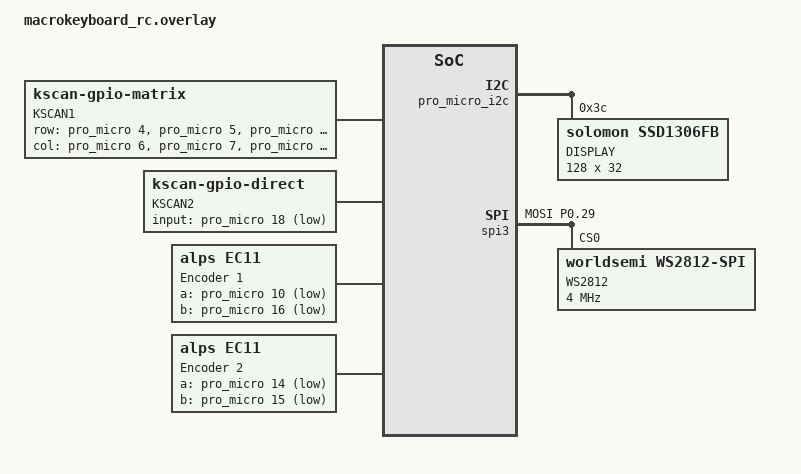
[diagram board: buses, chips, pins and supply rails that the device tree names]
/*
 * Copyright (c) 2021 The ZMK Contributors
 *
 * SPDX-License-Identifier: MIT
 */

#include <dt-bindings/zmk/matrix_transform.h>
#include <dt-bindings/led/led.h>

/ {
    chosen {
        zephyr,display = &oled;
        zmk,kscan = &kscan0;
        zmk,underglow = &led_strip;
    };

    kscan0: kscan_composite {
        compatible = "zmk,kscan-composite";
        label = "KSCAN0";
        rows = <4>;
        columns = <4>;

        // Include the matrix driver
        matrix {
            kscan = <&kscan1>;
        };

        // Include the direct GPIO driver...
        direct {
            kscan = <&kscan2>;
            row-offset = <3>; // ...and shift it to not overlap
        };
    };

    kscan1: kscan_matrix {
        compatible = "zmk,kscan-gpio-matrix";
        label = "KSCAN1";

        diode-direction = "row2col";
        row-gpios
            = <&pro_micro 4  GPIO_ACTIVE_HIGH>
            , <&pro_micro 5  GPIO_ACTIVE_HIGH>
            , <&pro_micro 21 GPIO_ACTIVE_HIGH>
            ;
        col-gpios
            = <&pro_micro 6  (GPIO_ACTIVE_HIGH | GPIO_PULL_DOWN)>
            , <&pro_micro 7  (GPIO_ACTIVE_HIGH | GPIO_PULL_DOWN)>
            , <&pro_micro 8  (GPIO_ACTIVE_HIGH | GPIO_PULL_DOWN)>
            , <&pro_micro 9  (GPIO_ACTIVE_HIGH | GPIO_PULL_DOWN)>
            ;
    };

    kscan2: kscan_direct {
        compatible = "zmk,kscan-gpio-direct";
        label = "KSCAN2";
        input-gpios
            = <&pro_micro 18 (GPIO_ACTIVE_LOW | GPIO_PULL_UP)>
            ;
    };

    encoder_1: encoder_1 {
        compatible = "alps,ec11";
        label = "Encoder 1";
        a-gpios = <&pro_micro 10 (GPIO_ACTIVE_LOW | GPIO_PULL_UP)>;
        b-gpios = <&pro_micro 16 (GPIO_ACTIVE_LOW | GPIO_PULL_UP)>;
        resolution = <1>;
        status = "okay";
    };

    encoder_2: encoder_2 {
        compatible = "alps,ec11";
        label = "Encoder 2";
        a-gpios = <&pro_micro 14 (GPIO_ACTIVE_LOW | GPIO_PULL_UP)>;
        b-gpios = <&pro_micro 15 (GPIO_ACTIVE_LOW | GPIO_PULL_UP)>;
        resolution = <1>;
        status = "okay";
    };

};

&pro_micro_i2c {
    status = "okay";

    oled: ssd1306@3c {
        compatible = "solomon,ssd1306fb";
        reg = <0x3c>;
        label = "DISPLAY";
        width = <128>;
        height = <32>;
        segment-offset = <0>;
        page-offset = <0>;
        display-offset = <0>;
        multiplex-ratio = <31>;
        segment-remap;
        com-invdir;
        com-sequential;
        prechargep = <0x22>;
    };
};

&pinctrl {
    spi3_default: spi3_default {
        group1 {
            psels = <NRF_PSEL(SPIM_MOSI, 0, 29)>;
        };
    };

    spi3_sleep: spi3_sleep {
        group1 {
            psels = <NRF_PSEL(SPIM_MOSI, 0, 29)>;
            low-power-enable;
        };
    };
};

&spi3 {
    compatible = "nordic,nrf-spim";
    status = "okay";

    pinctrl-0 = <&spi3_default>;
    pinctrl-1 = <&spi3_sleep>;
    pinctrl-names = "default", "sleep";

    led_strip: ws2812@0 {
        compatible = "worldsemi,ws2812-spi";
        label = "WS2812";

        /* SPI */
        reg = <0>; /* ignored, but necessary for SPI bindings */
        spi-max-frequency = <4000000>;

        /* WS2812 */
        chain-length = <14>; /* arbitrary; change at will */
        spi-one-frame = <0x70>;
        spi-zero-frame = <0x40>;

        color-mapping = <LED_COLOR_ID_GREEN LED_COLOR_ID_RED LED_COLOR_ID_BLUE>;
    };
};
